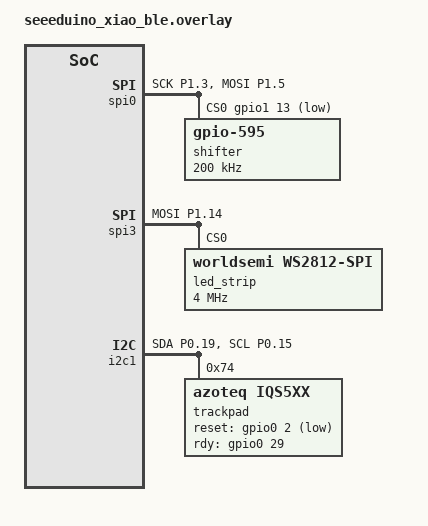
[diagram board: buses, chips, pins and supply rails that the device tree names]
#include <dt-bindings/led/led.h>

&pinctrl {
    spi0_default: spi0_default {
        group1 {
            psels = <NRF_PSEL(SPIM_SCK, 1, 3)>,
                    <NRF_PSEL(SPIM_MOSI, 1, 5)>;
        };
    };

    spi0_sleep: spi0_sleep {
        group1 {
            psels = <NRF_PSEL(SPIM_SCK, 1, 3)>,
                    <NRF_PSEL(SPIM_MOSI, 1, 5)>;
            low-power-enable;
        };
    };

    spi3_default: spi3_default {
        group1 {
            psels = <NRF_PSEL(SPIM_MOSI, 1, 14)>;
        };
    };

    spi3_sleep: spi3_sleep {
        group1 {
            psels = <NRF_PSEL(SPIM_MOSI, 1, 14)>;
            low-power-enable;
        };
    };

    i2c1_default: i2c1_default {
        group1 {
            psels = <NRF_PSEL(TWIM_SDA, 0, 19)>,
                    <NRF_PSEL(TWIM_SCL, 0, 15)>;
        };
    };

    i2c1_sleep: i2c1_sleep {
        group1 {
            psels = <NRF_PSEL(TWIM_SDA, 0, 19)>,
                    <NRF_PSEL(TWIM_SCL, 0, 15)>;
            low-power-enable;
        };
    };
};

&spi0 {
    status = "okay";
    pinctrl-0 = <&spi0_default>;
    pinctrl-1 = <&spi0_sleep>;
    pinctrl-names = "default", "sleep";
    cs-gpios = <&gpio1 13 GPIO_ACTIVE_LOW>;

    shifter: 595@0 {
        compatible = "zmk,gpio-595";
        status = "okay";
        gpio-controller;
        spi-max-frequency = <200000>;
        reg = <0>;
        #gpio-cells = <2>;
        ngpios = <8>;
    };
};

&spi3 {
    compatible = "nordic,nrf-spim";
    status = "okay";
    pinctrl-0 = <&spi3_default>;
    pinctrl-1 = <&spi3_sleep>;
    pinctrl-names = "default", "sleep";

    led_strip: ws2812@0 {
        compatible = "worldsemi,ws2812-spi";
        reg = <0>;
        spi-max-frequency = <4000000>;
        chain-length = <84>;
        spi-one-frame = <0x70>;
        spi-zero-frame = <0x40>;
        color-mapping = <LED_COLOR_ID_GREEN LED_COLOR_ID_RED LED_COLOR_ID_BLUE>;
    };
};

&i2c1 {
    status = "okay";
    compatible = "nordic,nrf-twim";
    pinctrl-0 = <&i2c1_default>;
    pinctrl-1 = <&i2c1_sleep>;
    pinctrl-names = "default", "sleep";

    trackpad: trackpad@74 {
        status = "okay";
        compatible = "azoteq,iqs5xx";
        reg = <0x74>;
        reset-gpios = <&gpio0 2 GPIO_ACTIVE_LOW>;
        rdy-gpios = <&gpio0 29 GPIO_ACTIVE_HIGH>;

        one-finger-tap;
        two-finger-tap;
        press-and-hold;
        press-and-hold-time = <250>;

        scroll;
        natural-scroll-y;
        natural-scroll-x;

        bottom-beta = <5>;
        stationary-threshold = <5>;
    };
};

/ {
    chosen {
        zmk,underglow = &led_strip;
    };
};
